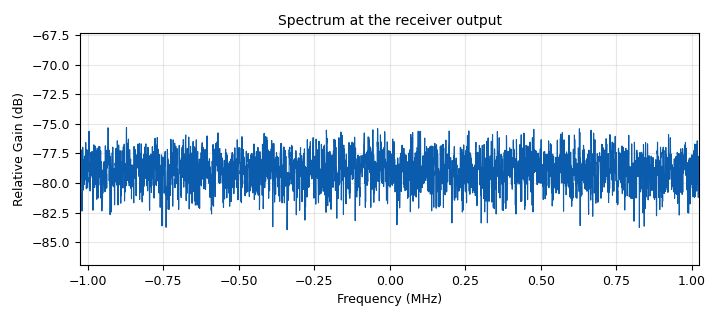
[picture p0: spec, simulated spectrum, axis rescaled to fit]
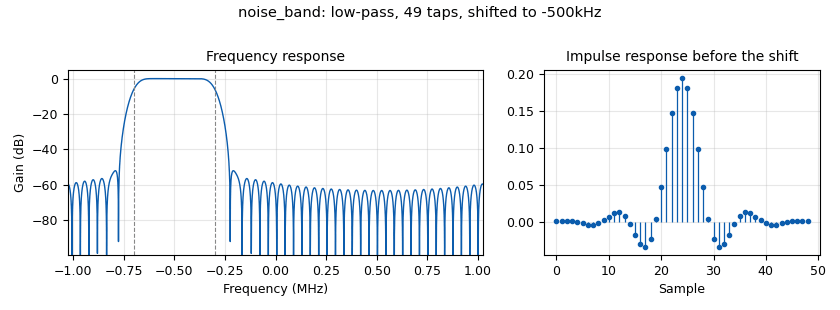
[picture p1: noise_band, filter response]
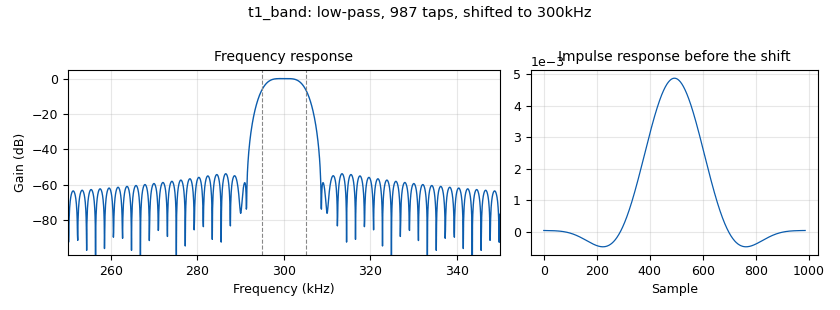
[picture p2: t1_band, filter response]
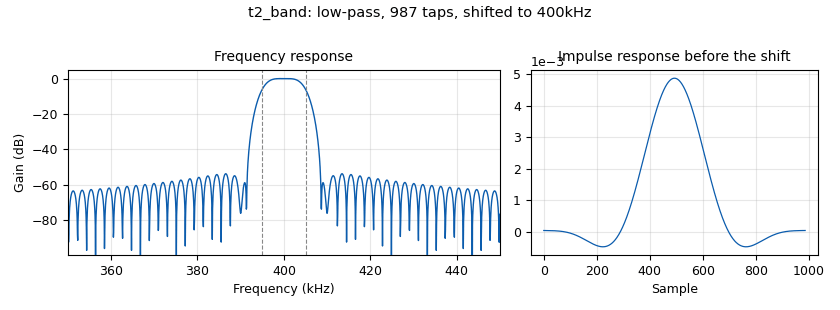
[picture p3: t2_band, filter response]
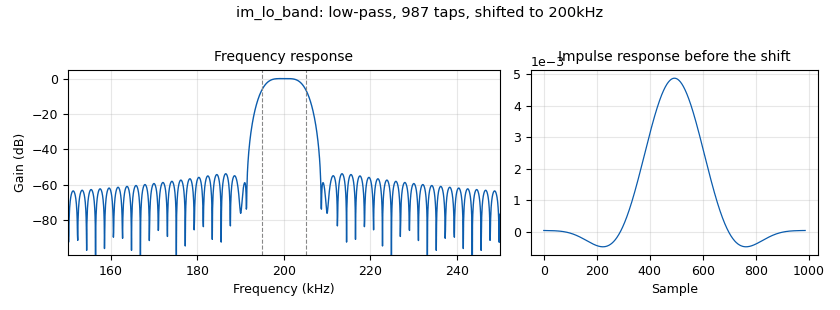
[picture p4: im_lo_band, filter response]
options:
  parameters:
    author: SDR Lab
    generate_options: qt_gui
    id: lab08_sim
    output_language: python
    title: 'SDR Lab 08 - receiver model: noise figure, P1dB and IIP3 (no hardware)'
  states: {}

blocks:
- name: import_0
  id: import
  parameters:
    imports: import math
  states: {}
- name: samp_rate
  id: variable
  parameters:
    value: 2.048e6
  states: {}
- name: nf_fe
  id: variable
  parameters:
    value: '6.0'
  states: {}
- name: iip3_fe
  id: variable
  parameters:
    value: '-25.0'
  states: {}
- name: p_fs0
  id: variable
  parameters:
    value: '-30.0'
  states: {}
- name: kt0_fs
  id: variable
  parameters:
    value: 10**((-173.98 + 10*math.log10(samp_rate))/10)
  states: {}
- name: mode
  id: variable_qtgui_chooser
  parameters:
    label: Source
    type: int
    num_opts: '4'
    value: '0'
    option0: '0'
    label0: Off (50 ohm at 290 K)
    option1: '1'
    label1: Noise source on
    option2: '2'
    label2: One tone
    option3: '3'
    label3: Two tones
  states: {}
- name: p_in
  id: variable_qtgui_range
  parameters:
    label: Tone power at the input, per tone (dBm)
    value: '-80'
    start: '-110'
    stop: '-10'
    step: '0.5'
  states: {}
- name: enr_db
  id: variable_qtgui_range
  parameters:
    label: ENR of the noise source (dB)
    value: '15'
    start: '0'
    stop: '60'
    step: '1'
  states: {}
- name: gain
  id: variable_qtgui_range
  parameters:
    label: Receiver gain (dB)
    value: '40'
    start: '0'
    stop: '50'
    step: '1'
  states: {}
- name: tone1
  id: analog_sig_source_x
  parameters:
    type: complex
    samp_rate: samp_rate
    waveform: analog.GR_COS_WAVE
    freq: f1
    amp: (mode >= 2)*math.sqrt(10**(p_in/10))
    offset: '0'
    phase: '0'
  states: {}
- name: tone2
  id: analog_sig_source_x
  parameters:
    type: complex
    samp_rate: samp_rate
    waveform: analog.GR_COS_WAVE
    freq: f2
    amp: (mode == 3)*math.sqrt(10**(p_in/10))
    offset: '0'
    phase: '0'
  states: {}
- name: thermal_noise
  id: analog_noise_source_x
  parameters:
    type: complex
    noise_type: analog.GR_GAUSSIAN
    amp: math.sqrt(kt0_fs*(1 + (mode == 1)*10**(enr_db/10)) + kt0_fs*(10**(nf_fe/10) - 1))
    seed: '0'
  states: {}
- name: input_sum
  id: blocks_add_xx
  parameters:
    type: complex
    num_inputs: '3'
  states: {}
- name: throttle
  id: blocks_throttle2
  parameters:
    type: complex
    samples_per_second: samp_rate
  states: {}
- name: env_power
  id: blocks_complex_to_mag_squared
  parameters: {}
  states: {}
- name: cubic_coeff
  id: blocks_multiply_const_vxx
  parameters:
    type: float
    const: '-1/10**(iip3_fe/10)'
  states: {}
- name: one_minus
  id: blocks_add_const_vxx
  parameters:
    type: float
    const: '1.0'
  states: {}
- name: zero
  id: analog_const_source_x
  parameters:
    type: float
    const: '0'
  states: {}
- name: gain_factor
  id: blocks_float_to_complex
  parameters: {}
  states: {}
- name: front_end
  id: blocks_multiply_xx
  parameters:
    type: complex
  states: {}
- name: rx_gain
  id: blocks_multiply_const_vxx
  parameters:
    type: complex
    const: 10**((gain - p_fs0)/20)
  states: {}
- name: adc_noise
  id: analog_noise_source_x
  parameters:
    type: complex
    noise_type: analog.GR_GAUSSIAN
    amp: 0.5*math.sqrt(2)/127
    seed: '1'
  states: {}
- name: adc_input
  id: blocks_add_xx
  parameters:
    type: complex
  states: {}
- name: to_iq
  id: blocks_complex_to_float
  parameters: {}
  states: {}
- name: adc_out
  id: blocks_float_to_complex
  parameters: {}
  states: {}
- name: clip_i
  id: analog_rail_ff
  parameters:
    lo: '-1.0'
    hi: '1.0'
  states: {}
- name: scale_i
  id: blocks_multiply_const_vxx
  parameters:
    type: float
    const: '127'
  states: {}
- name: round_i
  id: blocks_float_to_char
  parameters:
    scale: '1'
  states: {}
- name: back_i
  id: blocks_char_to_float
  parameters:
    scale: '127'
  states: {}
- name: clip_q
  id: analog_rail_ff
  parameters:
    lo: '-1.0'
    hi: '1.0'
  states: {}
- name: scale_q
  id: blocks_multiply_const_vxx
  parameters:
    type: float
    const: '127'
  states: {}
- name: round_q
  id: blocks_float_to_char
  parameters:
    scale: '1'
  states: {}
- name: back_q
  id: blocks_char_to_float
  parameters:
    scale: '127'
  states: {}
- name: f1
  id: variable
  parameters:
    value: 300e3
  states: {}
- name: f2
  id: variable
  parameters:
    value: 400e3
  states: {}
- name: f_noise
  id: variable
  parameters:
    value: '-500e3'
  states: {}
- name: bw_noise
  id: variable
  parameters:
    value: 400e3
  states: {}
- name: bw_tone
  id: variable
  parameters:
    value: 10e3
  states: {}
- name: noise_band
  id: freq_xlating_fir_filter_xxx
  parameters:
    type: ccf
    decim: '4'
    taps: firdes.low_pass(1, samp_rate, bw_noise/2, bw_noise/4)
    center_freq: f_noise
    samp_rate: samp_rate
  states: {}
- name: noise_rms
  id: blocks_rms_xx
  parameters:
    type: complex
    alpha: '2e-5'
  states: {}
- name: noise_db
  id: blocks_nlog10_ff
  parameters:
    n: '20'
    k: '0'
  states: {}
- name: noise_num
  id: qtgui_number_sink
  parameters:
    name: '"Noise power in the 400 kHz band (dBFS)"'
    type: float
    graph_type: qtgui.NUM_GRAPH_HORIZ
    min: '-120'
    max: '0'
    unit1: dBFS
  states: {}
- name: tone_num
  id: qtgui_number_sink
  parameters:
    name: '"Tone meters (10 kHz each)"'
    type: float
    graph_type: qtgui.NUM_GRAPH_NONE
    nconnections: '4'
    min: '-140'
    max: '0'
    label1: '"f1 (dBFS)"'
    label2: '"f2 (dBFS)"'
    label3: '"2 f1 - f2 (dBFS)"'
    label4: '"2 f2 - f1 (dBFS)"'
  states: {}
- name: t1_band
  id: freq_xlating_fir_filter_xxx
  parameters:
    type: ccf
    decim: '64'
    taps: firdes.low_pass(1, samp_rate, bw_tone/2, bw_tone/2)
    center_freq: f1
    samp_rate: samp_rate
  states: {}
- name: t1_rms
  id: blocks_rms_xx
  parameters:
    type: complex
    alpha: '1e-3'
  states: {}
- name: t1_db
  id: blocks_nlog10_ff
  parameters:
    n: '20'
    k: '0'
  states: {}
- name: t2_band
  id: freq_xlating_fir_filter_xxx
  parameters:
    type: ccf
    decim: '64'
    taps: firdes.low_pass(1, samp_rate, bw_tone/2, bw_tone/2)
    center_freq: f2
    samp_rate: samp_rate
  states: {}
- name: t2_rms
  id: blocks_rms_xx
  parameters:
    type: complex
    alpha: '1e-3'
  states: {}
- name: t2_db
  id: blocks_nlog10_ff
  parameters:
    n: '20'
    k: '0'
  states: {}
- name: im_lo_band
  id: freq_xlating_fir_filter_xxx
  parameters:
    type: ccf
    decim: '64'
    taps: firdes.low_pass(1, samp_rate, bw_tone/2, bw_tone/2)
    center_freq: 2*f1 - f2
    samp_rate: samp_rate
  states: {}
- name: im_lo_rms
  id: blocks_rms_xx
  parameters:
    type: complex
    alpha: '1e-3'
  states: {}
- name: im_lo_db
  id: blocks_nlog10_ff
  parameters:
    n: '20'
    k: '0'
  states: {}
- name: im_hi_band
  id: freq_xlating_fir_filter_xxx
  parameters:
    type: ccf
    decim: '64'
    taps: firdes.low_pass(1, samp_rate, bw_tone/2, bw_tone/2)
    center_freq: 2*f2 - f1
    samp_rate: samp_rate
  states: {}
- name: im_hi_rms
  id: blocks_rms_xx
  parameters:
    type: complex
    alpha: '1e-3'
  states: {}
- name: im_hi_db
  id: blocks_nlog10_ff
  parameters:
    n: '20'
    k: '0'
  states: {}
- name: total_rms
  id: blocks_rms_xx
  parameters:
    type: complex
    alpha: '1e-4'
  states: {}
- name: total_log
  id: blocks_nlog10_ff
  parameters:
    n: '20'
    k: '0'
  states: {}
- name: total_num
  id: qtgui_number_sink
  parameters:
    name: '"Total level (dBFS)"'
    type: float
    graph_type: qtgui.NUM_GRAPH_HORIZ
    min: '-100'
    max: '0'
    unit1: dB
  states: {}
- name: spec
  id: qtgui_freq_sink_x
  parameters:
    type: complex
    name: '"Spectrum at the receiver output"'
    fftsize: '4096'
    fc: '0'
    bw: samp_rate
    grid: 'True'
    average: '0.05'
    ymax: '0'
    ctrlpanel: 'True'
  states: {}

connections:
- [tone1, '0', input_sum, '0']
- [tone2, '0', input_sum, '1']
- [thermal_noise, '0', input_sum, '2']
- [input_sum, '0', throttle, '0']
- [throttle, '0', env_power, '0']
- [env_power, '0', cubic_coeff, '0']
- [cubic_coeff, '0', one_minus, '0']
- [one_minus, '0', gain_factor, '0']
- [zero, '0', gain_factor, '1']
- [throttle, '0', front_end, '0']
- [gain_factor, '0', front_end, '1']
- [front_end, '0', rx_gain, '0']
- [rx_gain, '0', adc_input, '0']
- [adc_noise, '0', adc_input, '1']
- [adc_input, '0', to_iq, '0']
- [to_iq, '0', clip_i, '0']
- [clip_i, '0', scale_i, '0']
- [scale_i, '0', round_i, '0']
- [round_i, '0', back_i, '0']
- [back_i, '0', adc_out, '0']
- [to_iq, '1', clip_q, '0']
- [clip_q, '0', scale_q, '0']
- [scale_q, '0', round_q, '0']
- [round_q, '0', back_q, '0']
- [back_q, '0', adc_out, '1']
- [adc_out, '0', noise_band, '0']
- [noise_band, '0', noise_rms, '0']
- [noise_rms, '0', noise_db, '0']
- [noise_db, '0', noise_num, '0']
- [adc_out, '0', t1_band, '0']
- [t1_band, '0', t1_rms, '0']
- [t1_rms, '0', t1_db, '0']
- [t1_db, '0', tone_num, '0']
- [adc_out, '0', t2_band, '0']
- [t2_band, '0', t2_rms, '0']
- [t2_rms, '0', t2_db, '0']
- [t2_db, '0', tone_num, '1']
- [adc_out, '0', im_lo_band, '0']
- [im_lo_band, '0', im_lo_rms, '0']
- [im_lo_rms, '0', im_lo_db, '0']
- [im_lo_db, '0', tone_num, '2']
- [adc_out, '0', im_hi_band, '0']
- [im_hi_band, '0', im_hi_rms, '0']
- [im_hi_rms, '0', im_hi_db, '0']
- [im_hi_db, '0', tone_num, '3']
- [adc_out, '0', total_rms, '0']
- [total_rms, '0', total_log, '0']
- [total_log, '0', total_num, '0']
- [adc_out, '0', spec, '0']

metadata:
  file_format: 1
  grc_version: 3.10.9.2
